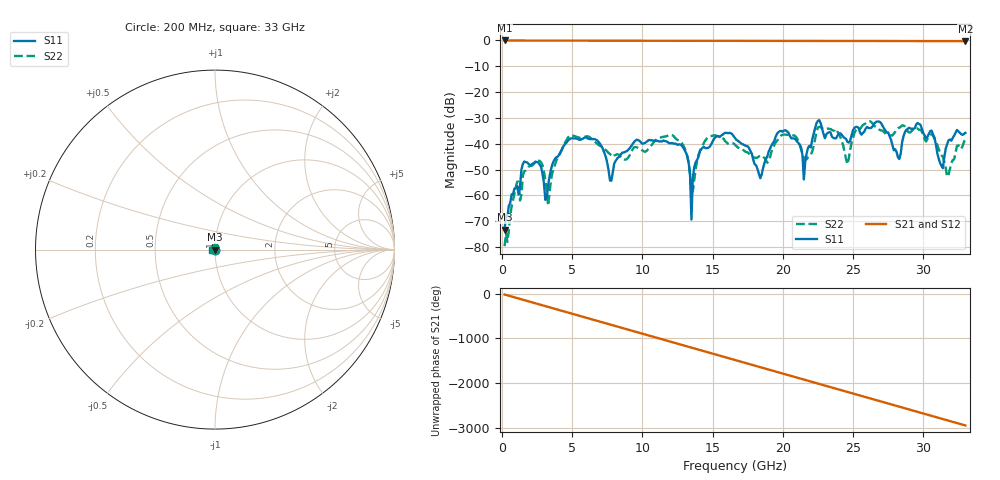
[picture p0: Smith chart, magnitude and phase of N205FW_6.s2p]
# GHZ S RI R 50
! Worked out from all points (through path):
!   329 points, 200 MHz to 33 GHz, reference 50 ohm
!   highest |S21| = -0.02 dB at 200 MHz (marker M1); lowest = -0.3 dB at 33 GHz (marker M2)
!   group delay of S21, straight-line fit = 248 ps
!   lowest |S11| = -73.3 dB at 200 MHz (marker M3), VSWR 1.00, Z = 50 - j0.00474 ohm
!   |S11| at or under -10 dB: start of sweep to end of sweep
!   |S22| runs from -79.7 to -31.3 dB; largest |S21 - S12| = 0.0022
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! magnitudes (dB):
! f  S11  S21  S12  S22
! 200 MHz  -73.3  0.0  0.0  -79.7
! 1.6 GHz  -46.9  -0.1  -0.1  -50.6
! 2.8 GHz  -49.0  -0.1  -0.1  -47.2
! 3.3 GHz  -56.0  -0.1  -0.1  -64.0
! 4.5 GHz  -40.2  -0.1  -0.1  -39.6
! 5.7 GHz  -38.2  -0.1  -0.1  -37.5
! 7.8 GHz  -54.3  -0.1  -0.1  -44.6
! 11.2 GHz  -39.1  -0.2  -0.2  -37.8
! 13.1 GHz  -43.4  -0.2  -0.2  -42.9
! 13.4 GHz  -51.9  -0.2  -0.2  -51.9
! 13.5 GHz  -69.3  -0.2  -0.2  -58.8
! 13.6 GHz  -53.1  -0.2  -0.2  -58.4
! 14.1 GHz  -42.9  -0.2  -0.2  -42.8
! 16.6 GHz  -37.9  -0.2  -0.2  -40.4
! 18.4 GHz  -53.4  -0.2  -0.2  -44.6
! 20.3 GHz  -35.2  -0.2  -0.2  -36.6
! 21.5 GHz  -53.8  -0.2  -0.2  -45.5
! 22.1 GHz  -38.3  -0.2  -0.2  -42.9
! 27.6 GHz  -37.0  -0.2  -0.2  -36.7
! 30.6 GHz  -34.9  -0.3  -0.3  -36.2
! 31.7 GHz  -40.2  -0.3  -0.3  -52.8
! 33 GHz  -35.8  -0.3  -0.3  -38.0
